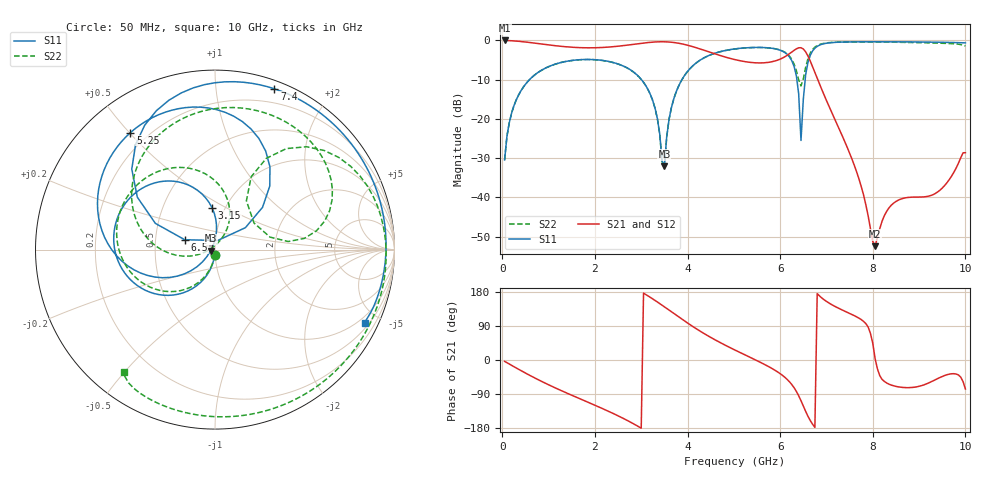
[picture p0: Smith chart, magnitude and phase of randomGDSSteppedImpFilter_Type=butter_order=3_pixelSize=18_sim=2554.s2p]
! freq	dB(S11)	phase(S11)	dB(S12)	phase(S12)
!  dB(S21)	phase(S21)	dB(S22)	phase(S22)
!S-par simulation data
#  GHz  S  DB  R 50
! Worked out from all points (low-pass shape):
!   200 points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, 50 MHz to 10 GHz, reference 50 ohm
!   highest |S21| = -0.01 dB at 50 MHz (marker M1); lowest = -52.5 dB at 8.05 GHz (marker M2)
!   |S21| within 3 dB of the highest: start of sweep to 4.485 GHz; 6.246 GHz to 6.555 GHz (309.4 MHz wide, 4.83 % of centre)
!   lowest |S11| = -32.1 dB at 3.5 GHz (marker M3), VSWR 1.05, Z = 47.6 - j0.531 ohm
!   |S11| at or under -10 dB: start of sweep to 587.7 MHz; 3.005 GHz to 3.88 GHz (874.2 MHz wide, 25.4 % of centre); 6.361 GHz to 6.54 GHz (179.7 MHz wide, 2.79 % of centre)
!   |S22| runs from -32.5 to -0.4 dB; largest |S21 - S12| = 0
!   S11 on the Smith chart (normalised r, x): 50 MHz: 0.99, -0.06; 3.15 GHz: 0.87, +0.43; 5.25 GHz: 0.14, +0.50; 6.5 GHz: 0.71, +0.08; 7.4 GHz: 0.07, +1.43; 10 GHz: 0.69, -4.23
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0.05  -30.47 -93.5  -0.01 -3.6  -0.01 -3.6  -30.47 -93.9
0.2  -18.56 -103.9  -0.08 -14.1  -0.08 -14.1  -18.57 -105.3
0.5  -11.18 -123.3  -0.40 -34.4  -0.40 -34.4  -11.18 -126.7
1.75  -4.87 169.6  -1.87 -106.2  -1.87 -106.2  -4.88 157.3
3.15  -12.59 94.1  -0.54 168.9  -0.54 168.9  -12.62 69.5
3.4  -23.89 87.7  -0.34 148.8  -0.34 148.8  -23.97 59.6
3.5  -32.09 -167.0  -0.35 140.4  -0.35 140.4  -32.52 167.6
3.65  -17.21 -136.4  -0.45 127.5  -0.45 127.5  -17.24 -165.0
3.9  -9.58 -151.8  -0.93 106.0  -0.93 106.0  -9.61 176.5
4.4  -4.16 173.6  -2.67 66.7  -2.67 66.7  -4.19 136.4
5.05  -2.12 136.3  -4.97 24.7  -4.97 24.7  -2.14 91.9
5.25  -1.89 125.9  -5.43 13.0  -5.43 13.0  -1.91 79.4
6.15  -3.54 68.4  -3.81 -51.1  -3.81 -51.1  -3.41 18.9
6.35  -9.02 41.6  -2.14 -82.9  -2.14 -82.9  -7.72 6.3
6.45  -25.51 73.4  -1.86 -107.4  -1.86 -107.4  -11.60 34.3
6.5  -15.03 162.0  -2.18 -121.4  -2.18 -121.4  -9.80 57.3
6.7  -2.69 127.1  -6.68 -169.5  -6.68 -169.5  -2.30 48.3
7.4  -0.40 69.8  -25.93 128.5  -25.93 128.5  -0.39 -6.3
8.05  -0.34 41.9  -52.46 3.9  -52.46 3.9  -0.40 -38.2
8.35  -0.35 30.4  -42.70 -63.8  -42.70 -63.8  -0.44 -51.7
9.4  -0.45 -6.7  -38.64 -49.1  -38.64 -49.1  -0.68 -98.2
10  -0.62 -26.0  -28.62 -76.5  -28.62 -76.5  -1.40 -126.5
